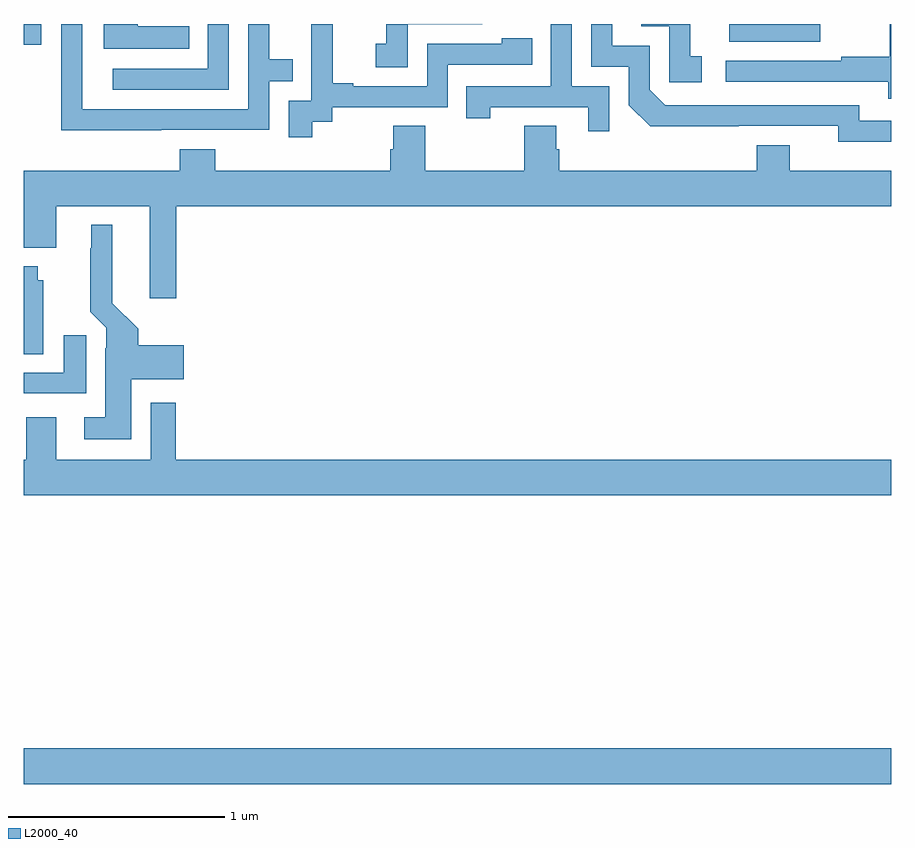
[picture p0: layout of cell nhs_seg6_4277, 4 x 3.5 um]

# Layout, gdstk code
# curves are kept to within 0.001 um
import gdstk
lib = gdstk.Library(unit=1e-6, precision=1e-09)
def R(c, l, rs):  # rectangles x0, y0, x1, y1
    for r in rs: c.add(gdstk.rectangle(r[:2], r[2:], *l))
def P(c, l, *ps):  # polygons
    for p in ps: c.add(gdstk.Polygon(p, *l))
L2000_40 = (2000, 40)

nhs_seg6_4277 = lib.new_cell('nhs_seg6_4277')
R(nhs_seg6_4277, L2000_40, [(363,953.996,367,954.16), (363,957.405,363.081,957.5), (366.254,957.419,366.673,957.5)])
P(nhs_seg6_4277, L2000_40, [(367,957.054),(366.852,957.054),(366.852,957.126),(365.958,957.126),(365.886,957.198),(365.886,957.399),(365.713,957.399),(365.713,957.5),(365.616,957.5),(365.616,957.303),(365.79,957.303),(365.79,957.126),(365.888,957.029),(366.756,957.03),(366.756,956.957),(367,956.957)],
  [(363.945,957.5),(363.849,957.5),(363.849,957.294),(363.411,957.294),(363.411,957.198),(363.945,957.198)],
  [(364.33,957.049),(364.422,957.049),(364.422,957.117),(364.956,957.117),(364.956,957.312),(365.345,957.312),(365.345,957.435),(365.205,957.435),(365.205,957.408),(364.86,957.408),(364.86,957.213),(364.519,957.213),(364.519,957.226),(364.424,957.226),(364.424,957.5),(364.325,957.5),(364.325,957.377),(364.326,957.377),(364.326,957.147),(364.221,957.147),(364.221,956.979),(364.33,956.979)],
  [(366.127,957.351),(366.074,957.351),(366.074,957.5),(365.847,957.5),(365.847,957.489),(365.976,957.489),(365.976,957.231),(366.127,957.231)],
  [(364.77,957.498),(365.112,957.498),(365.114,957.5),(364.672,957.5),(364.672,957.409),(364.623,957.409),(364.623,957.3),(364.77,957.3)],
  [(365.7,957.213),(365.526,957.213),(365.526,957.5),(365.43,957.5),(365.43,957.213),(365.041,957.213),(365.041,957.066),(365.152,957.066),(365.152,957.117),(365.603,957.117),(365.603,957.006),(365.7,957.006)],
  [(367,957.5),(366.993,957.5),(366.993,957.35),(366.769,957.35),(366.769,957.33),(366.237,957.33),(366.237,957.234),(366.985,957.234),(366.985,957.156),(367,957.156)],
  [(363.764,957.49),(363.525,957.49),(363.525,957.5),(363.368,957.5),(363.368,957.386),(363.764,957.386)],
  [(363.635,957.012),(364.131,957.012),(364.131,957.237),(364.241,957.237),(364.241,957.338),(364.131,957.338),(364.131,957.5),(364.035,957.5),(364.035,957.108),(363.271,957.108),(363.271,957.353),(363.27,957.353),(363.27,957.5),(363.174,957.5),(363.174,957.317),(363.172,957.317),(363.172,957.011),(363.635,957.011)],
  [(363.704,956.66),(367,956.66),(367,956.824),(366.532,956.824),(366.532,956.941),(366.38,956.941),(366.38,956.824),(365.468,956.824),(365.468,956.922),(365.455,956.922),(365.455,957.032),(365.308,957.032),(365.308,956.824),(364.851,956.824),(364.851,957.032),(364.703,957.032),(364.703,956.922),(364.691,956.922),(364.691,956.824),(363.884,956.824),(363.884,956.923),(363.719,956.923),(363.719,956.824),(363,956.824),(363,956.468),(363.151,956.468),(363.151,956.66),(363.581,956.66),(363.581,956.235),(363.704,956.235)],
  [(363.496,955.862),(363.739,955.862),(363.739,956.02),(363.527,956.02),(363.527,956.094),(363.409,956.212),(363.409,956.575),(363.311,956.575),(363.311,956.465),(363.307,956.465),(363.307,956.174),(363.381,956.1),(363.381,956.006),(363.377,956.006),(363.377,955.687),(363.279,955.687),(363.279,955.586),(363.496,955.586)],
  [(363.091,956.319),(363.064,956.319),(363.064,956.383),(363,956.383),(363,955.978),(363.091,955.978)],
  [(363.289,956.065),(363.185,956.065),(363.185,955.893),(363,955.893),(363,955.797),(363.289,955.797)],
  [(367,955.492),(363.701,955.492),(363.701,955.753),(363.585,955.753),(363.585,955.492),(363.151,955.492),(363.151,955.687),(363.011,955.687),(363.011,955.492),(363,955.492),(363,955.328),(367,955.328)])

lib.write_gds('nhs_seg6_4277.gds')
